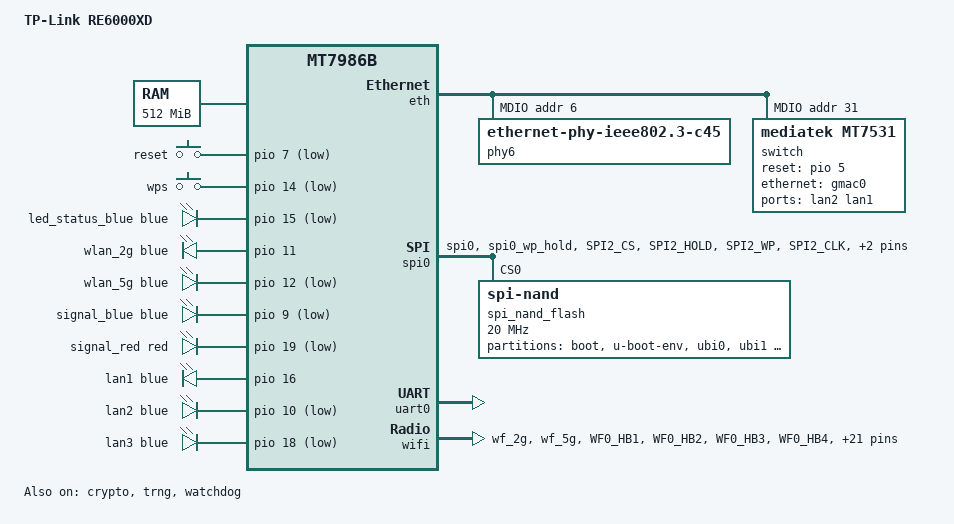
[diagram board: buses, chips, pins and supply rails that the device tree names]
// SPDX-License-Identifier: (GL-2.0 OR MIT)

/dts-v1/;
#include <dt-bindings/input/input.h>
#include <dt-bindings/gpio/gpio.h>
#include <dt-bindings/leds/common.h>

#include "mt7986b.dtsi"

/ {
	compatible = "tplink,re6000xd", "mediatek,mt7986b";
	model = "TP-Link RE6000XD";

	aliases {
		serial0 = &uart0;

		led-boot = &led_status_blue;
		led-failsafe = &led_status_blue;
		led-running = &led_status_blue;
		led-upgrade = &led_status_blue;
	};

	chosen {
		stdout-path = "serial0:115200n8";
	};

	memory {
		reg = <0 0x40000000 0 0x20000000>;
	};

	keys {
		compatible = "gpio-keys";

		reset {
			label = "reset";
			gpios = <&pio 7 GPIO_ACTIVE_LOW>;
			linux,code = <KEY_RESTART>;
		};

		wps {
			label = "wps";
			gpios = <&pio 14 GPIO_ACTIVE_LOW>;
			linux,code = <KEY_WPS_BUTTON>;
		};
	};

	leds {
		compatible = "gpio-leds";

		led_status_blue: power {
			gpios = <&pio 15 GPIO_ACTIVE_LOW>;
			color = <LED_COLOR_ID_BLUE>;
			function = LED_FUNCTION_STATUS;
			panic-indicator;
			function-enumerator = <0>;
		};
		wlan_2g {
			gpios = <&pio 11 GPIO_ACTIVE_HIGH>;
			color = <LED_COLOR_ID_BLUE>;
			function = LED_FUNCTION_WLAN_2GHZ;
			linux,default-trigger = "phy0tpt";
		};
		wlan_5g {
			gpios = <&pio 12 GPIO_ACTIVE_LOW>;
			color = <LED_COLOR_ID_BLUE>;
			function = LED_FUNCTION_WLAN_5GHZ;
			linux,default-trigger = "phy1tpt";
		};
		signal_blue {
			gpios = <&pio 9 GPIO_ACTIVE_LOW>;
			color = <LED_COLOR_ID_BLUE>;
			function = LED_FUNCTION_STATUS;
			function-enumerator = <1>;
		};
		signal_red {
			gpios = <&pio 19 GPIO_ACTIVE_LOW>;
			color = <LED_COLOR_ID_RED>;
			function = LED_FUNCTION_STATUS;
			function-enumerator = <2>;
		};
		lan1 {
			gpios = <&pio 16 GPIO_ACTIVE_HIGH>;
			color = <LED_COLOR_ID_BLUE>;
			function = LED_FUNCTION_LAN;
			function-enumerator = <0>;
		};
		lan2 {
			gpios = <&pio 10 GPIO_ACTIVE_LOW>;
			color = <LED_COLOR_ID_BLUE>;
			function = LED_FUNCTION_LAN;
			function-enumerator = <1>;
		};
		lan3 {
			gpios = <&pio 18 GPIO_ACTIVE_LOW>;
			color = <LED_COLOR_ID_BLUE>;
			function = LED_FUNCTION_LAN;
			function-enumerator = <2>;
		};
	};
};

&crypto {
	status = "okay";
};

&eth {
	status = "okay";

	gmac0: mac@0 {
		compatible = "mediatek,eth-mac";
		reg = <0>;
		phy-mode = "2500base-x";

		fixed-link {
			speed = <2500>;
			full-duplex;
			pause;
		};
	};

	gmac1: mac@1 {
		compatible = "mediatek,eth-mac";
		reg = <1>;
		phy-handle = <&phy6>;
		phy-mode = "2500base-x";
	};

	mdio: mdio-bus {
		#address-cells = <1>;
		#size-cells = <0>;
	};
};

&mdio {
	#address-cells = <1>;
	#size-cells = <0>;

	reset-gpios = <&pio 6 GPIO_ACTIVE_LOW>;
	reset-delay-us = <1500000>;
	reset-post-delay-us = <1000000>;

	/* LAN3 2.5Gbps phy
	   MaxLinear GPY211C0VC (SLNW8) */
	phy6: phy@6 {
		compatible = "ethernet-phy-ieee802.3-c45";
		reg = <6>;
	};

	switch: switch@1f {
		compatible = "mediatek,mt7531";
		reg = <31>;
		reset-gpios = <&pio 5 GPIO_ACTIVE_HIGH>;
	};
};

&switch {
	ports {
		#address-cells = <1>;
		#size-cells = <0>;
		/* reorder LAN1 and LAN2 port to match the port order of the case
			LAN1 - LAN2 - LAN3 (top to bottom of the case, no silkscreen)
		*/
		/* LAN2 port */
		port@1 {
			reg = <1>;
			label = "lan2";
		};

		/* LAN1 port */
		port@2 {
			reg = <2>;
			label = "lan1";
		};

		port@6 {
			reg = <6>;
			ethernet = <&gmac0>;
			phy-mode = "2500base-x";

			fixed-link {
				speed = <2500>;
				full-duplex;
				pause;
			};
		};
	};
};

&pio {
	spi_flash_pins: spi-flash-pins-33-to-38 {
		mux {
			function = "spi";
			groups = "spi0", "spi0_wp_hold";
		};
		conf-pu {
			pins = "SPI2_CS", "SPI2_HOLD", "SPI2_WP";
			drive-strength = <8>;
			mediatek,pull-up-adv = <0>; /* bias-disable */
		};
		conf-pd {
			pins = "SPI2_CLK", "SPI2_MOSI", "SPI2_MISO";
			drive-strength = <8>;
			mediatek,pull-down-adv = <0>; /* bias-disable */
		};
	};

	wf_2g_5g_pins: wf_2g_5g-pins {
		mux {
			function = "wifi";
			groups = "wf_2g", "wf_5g";
		};
		conf {
			pins = "WF0_HB1", "WF0_HB2", "WF0_HB3", "WF0_HB4",
			       "WF0_HB0", "WF0_HB0_B", "WF0_HB5", "WF0_HB6",
			       "WF0_HB7", "WF0_HB8", "WF0_HB9", "WF0_HB10",
			       "WF0_TOP_CLK", "WF0_TOP_DATA", "WF1_HB1",
			       "WF1_HB2", "WF1_HB3", "WF1_HB4", "WF1_HB0",
			       "WF1_HB5", "WF1_HB6", "WF1_HB7", "WF1_HB8",
			       "WF1_TOP_CLK", "WF1_TOP_DATA";
			drive-strength = <4>;
		};
	};
};

&spi0 {
	pinctrl-names = "default";
	pinctrl-0 = <&spi_flash_pins>;
	status = "okay";

	spi_nand_flash: flash@0 {
		compatible = "spi-nand";
		#address-cells = <1>;
		#size-cells = <1>;
		reg = <0>;

		spi-max-frequency = <20000000>;
		spi-tx-bus-width = <4>;
		spi-rx-bus-width = <4>;

		partitions: partitions {
			compatible = "fixed-partitions";
			#address-cells = <1>;
			#size-cells = <1>;

			partition@0 {
				label = "boot";
				reg = <0x0 0x200000>;
				read-only;
			};

			partition@200000 {
				label = "u-boot-env";
				reg = <0x200000 0x100000>;
			};

			partition@300000 {
				label = "ubi0";
				reg = <0x300000 0x3200000>;
			};

			partition@3500000 {
				label = "ubi1";
				reg = <0x3500000 0x3200000>;
				read-only;
			};

			partition@6700000 {
				label = "userconfig";
				reg = <0x6700000 0x800000>;
				read-only;
			};

			partition@6f00000 {
				label = "tp_data";
				reg = <0x6f00000 0x400000>;
				read-only;
			};
		};
	};
};

&trng {
	status = "okay";
};

&uart0 {
	status = "okay";
};

&watchdog {
	status = "okay";
};

&wifi {
	status = "okay";
	pinctrl-names = "default";
	pinctrl-0 = <&wf_2g_5g_pins>;
};
